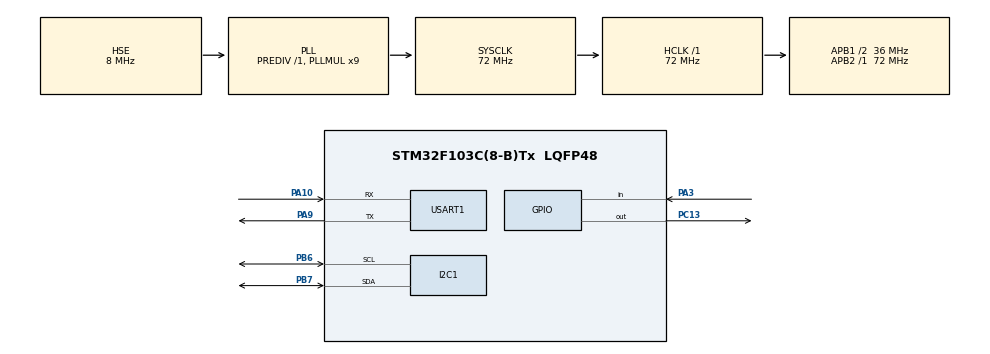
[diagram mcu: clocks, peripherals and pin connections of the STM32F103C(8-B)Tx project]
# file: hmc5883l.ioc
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Mcu.Family=STM32F1
Mcu.Name=STM32F103C(8-B)Tx
Mcu.Package=LQFP48
NVIC.PriorityGroup=NVIC_PRIORITYGROUP_4
PA10.Mode=Asynchronous
PA10.Signal=USART1_RX
PA13.Mode=Serial_Wire
PA13.Signal=SYS_JTMS-SWDIO
PA14.Mode=Serial_Wire
PA14.Signal=SYS_JTCK-SWCLK
PA3.Signal=GPIO_Input
PA9.Mode=Asynchronous
PA9.Signal=USART1_TX
PB6.Mode=I2C
PB6.Signal=I2C1_SCL
PB7.Mode=I2C
PB7.Signal=I2C1_SDA
PC13-TAMPER-RTC.GPIO_PuPd=GPIO_PULLUP
PC13-TAMPER-RTC.Signal=GPIO_Output
PD0-OSC_IN.Mode=HSE-External-Oscillator
PD0-OSC_IN.Signal=RCC_OSC_IN
PD1-OSC_OUT.Mode=HSE-External-Oscillator
PD1-OSC_OUT.Signal=RCC_OSC_OUT
ProjectManager.HeapSize=0x200
ProjectManager.StackSize=0x400
ProjectManager.TargetToolchain=MDK-ARM V5
RCC.AHBFreq_Value=72000000
RCC.APB1CLKDivider=RCC_HCLK_DIV2
RCC.APB1Freq_Value=36000000
RCC.APB1TimFreq_Value=72000000
RCC.APB2Freq_Value=72000000
RCC.APB2TimFreq_Value=72000000
RCC.HCLKFreq_Value=72000000
RCC.PLLMUL=RCC_PLL_MUL9
RCC.PLLSourceVirtual=RCC_PLLSOURCE_HSE
RCC.SYSCLKFreq_VALUE=72000000
RCC.SYSCLKSource=RCC_SYSCLKSOURCE_PLLCLK
RCC.USBFreq_Value=72000000
USART1.VirtualMode=VM_ASYNC
board=custom

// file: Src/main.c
/* USER CODE BEGIN Header */
/**
  ******************************************************************************
  * @file           : main.c
  * @brief          : Main program body
  ******************************************************************************
  * @attention
  *
  * <h2><center>&copy; Copyright (c) 2021 STMicroelectronics.
  * All rights reserved.</center></h2>
  *
  * This software component is licensed by ST under BSD 3-Clause license,
  * the "License"; You may not use this file except in compliance with the
  * License. You may obtain a copy of the License at:
  *                        opensource.org/licenses/BSD-3-Clause
  *
  ******************************************************************************
  */
/* USER CODE END Header */

#include "main.h"
#include<stdio.h>

/* USER CODE BEGIN PD */

#define HMC5883L_ADDER 0x3c
#define CONFIGURATION_A  0x00
#define CONFIGURATION_B  0x01
#define HMC5883L_MODE  0x02
#define X_MSB 0x03
/* USER CODE END PD */

I2C_HandleTypeDef hi2c1;

UART_HandleTypeDef huart1;

void SystemClock_Config(void);
static void MX_GPIO_Init(void);
static void MX_I2C1_Init(void);
static void MX_USART1_UART_Init(void);

/* USER CODE BEGIN 0 */

void hmc5883l_init(){

		uint8_t data = 0x70;

		HAL_I2C_Mem_Write(&hi2c1,HMC5883L_ADDER,CONFIGURATION_A, 1, &data, 1,1000); //配置寄存器A

		data = 0x20;

		HAL_I2C_Mem_Write(&hi2c1,HMC5883L_ADDER,CONFIGURATION_B, 1, &data, 1,1000); //配置寄存器B

		data = 0x0;

		HAL_I2C_Mem_Write(&hi2c1,HMC5883L_ADDER,HMC5883L_MODE, 1, &data, 1,1000); //配置模式寄存器，连续模式

}

void hmc5883l_rawread(float *GaX, float *GaY){

		uint8_t data[6];

	  HAL_I2C_Mem_Read(&hi2c1,HMC5883L_ADDER, 0x03,1,data,6 , 1000); //连续读取

		int16_t dxra,dyra;

		dxra = (data[0] << 8) | data[1];
		*GaX = (float)dxra /1090;

		dyra = (data[4] << 8) | data[5];
		*GaY = (float)dyra /1090 ;

/*	dzra = (data[2] << 8) | data[3];
		float GaZ = (float)dzra /1090 ;
	*/

}

void hmc5883l_selftest(float *Xoffest,float *Yoffest,float *Kx,float *Ky){

		uint8_t i=0 ;

		float GaX,GaY,GaXmax=0,GaXmin=0,GaYmax=0,GaYmin=0;

	printf("start");
		while(i != 100)
	{
		hmc5883l_rawread(&GaX, &GaY);

		GaXmax = GaXmax < GaX? GaX:GaXmax;

		GaXmin = GaXmin > GaX? GaX:GaXmin;

		GaYmax = GaYmax < GaY? GaY:GaYmax;

		GaYmin = GaYmin > GaY? GaY:GaYmin;

		HAL_Delay(200);

		i++;

				printf("...");
	}
		printf("end");
	*Xoffest = (GaXmax+GaXmin)/2;
	*Yoffest = (GaYmax+GaYmin)/2;
	*Kx = 2/(GaXmax-GaXmin);
	*Ky = 2/(GaXmax-GaXmin);

}

int16_t hmc5883l_read(float Xoffest,float Yoffest,float Kx,float Ky){

		float rawGaX,rawGaY;

		int16_t Magangle;

		hmc5883l_rawread(&rawGaX,&rawGaY);

		float GaX = (rawGaX - Xoffest) * Kx;

		float GaY = (rawGaY - Yoffest) * Ky;

			if((GaX > 0)&&(GaY > 0)) Magangle = atan(GaY/GaX)*57;
			else if((GaX > 0)&&(GaY < 0)) Magangle = 360+atan(GaY/GaX)*57;
			else if((GaX == 0)&&(GaY > 0)) Magangle = 90;
			else if((GaX == 0)&&(GaY < 0)) Magangle = 270;
			else if(GaX < 0) Magangle = 180+atan(GaY/GaX)*57;

			return Magangle;

}

/* USER CODE END 0 */

int main(void)
{

  /* MCU Configuration--------------------------------------------------------*/

  /* Reset of all peripherals, Initializes the Flash interface and the Systick. */
  HAL_Init();

  /* Configure the system clock */
  SystemClock_Config();

  /* Initialize all configured peripherals */
  MX_GPIO_Init();
  MX_I2C1_Init();
  MX_USART1_UART_Init();
  /* USER CODE BEGIN 2 */
	HAL_Delay(200);
	hmc5883l_init();
		float Xoffest,Yoffest,Kx,Ky;
	float Magangle;
	hmc5883l_selftest(&Xoffest,&Yoffest,&Kx,&Ky);
  /* USER CODE END 2 */

  /* Infinite loop */
  while (1)
  {

    /* USER CODE BEGIN 3 */
		Magangle = hmc5883l_read(Xoffest,Yoffest,Kx,Ky);
			printf("Magangle = %.3f °",Magangle);
		HAL_GPIO_TogglePin(GPIOC,GPIO_PIN_13);
			HAL_Delay(1000);
    /* USER CODE END WHILE */
  }
  /* USER CODE END 3 */
}

void SystemClock_Config(void)
{
  RCC_OscInitTypeDef RCC_OscInitStruct = {0};
  RCC_ClkInitTypeDef RCC_ClkInitStruct = {0};

  /** Initializes the CPU, AHB and APB busses clocks
  */
  RCC_OscInitStruct.OscillatorType = RCC_OSCILLATORTYPE_HSE;
  RCC_OscInitStruct.HSEState = RCC_HSE_ON;
  RCC_OscInitStruct.HSEPredivValue = RCC_HSE_PREDIV_DIV1;
  RCC_OscInitStruct.HSIState = RCC_HSI_ON;
  RCC_OscInitStruct.PLL.PLLState = RCC_PLL_ON;
  RCC_OscInitStruct.PLL.PLLSource = RCC_PLLSOURCE_HSE;
  RCC_OscInitStruct.PLL.PLLMUL = RCC_PLL_MUL9;
  if (HAL_RCC_OscConfig(&RCC_OscInitStruct) != HAL_OK)
  {
    Error_Handler();
  }
  /** Initializes the CPU, AHB and APB busses clocks
  */
  RCC_ClkInitStruct.ClockType = RCC_CLOCKTYPE_HCLK|RCC_CLOCKTYPE_SYSCLK
                              |RCC_CLOCKTYPE_PCLK1|RCC_CLOCKTYPE_PCLK2;
  RCC_ClkInitStruct.SYSCLKSource = RCC_SYSCLKSOURCE_PLLCLK;
  RCC_ClkInitStruct.AHBCLKDivider = RCC_SYSCLK_DIV1;
  RCC_ClkInitStruct.APB1CLKDivider = RCC_HCLK_DIV2;
  RCC_ClkInitStruct.APB2CLKDivider = RCC_HCLK_DIV1;

  if (HAL_RCC_ClockConfig(&RCC_ClkInitStruct, FLASH_LATENCY_2) != HAL_OK)
  {
    Error_Handler();
  }
}

static void MX_I2C1_Init(void)
{

  hi2c1.Instance = I2C1;
  hi2c1.Init.ClockSpeed = 100000;
  hi2c1.Init.DutyCycle = I2C_DUTYCYCLE_2;
  hi2c1.Init.OwnAddress1 = 0;
  hi2c1.Init.AddressingMode = I2C_ADDRESSINGMODE_7BIT;
  hi2c1.Init.DualAddressMode = I2C_DUALADDRESS_DISABLE;
  hi2c1.Init.OwnAddress2 = 0;
  hi2c1.Init.GeneralCallMode = I2C_GENERALCALL_DISABLE;
  hi2c1.Init.NoStretchMode = I2C_NOSTRETCH_DISABLE;
  if (HAL_I2C_Init(&hi2c1) != HAL_OK)
  {
    Error_Handler();
  }

}

static void MX_USART1_UART_Init(void)
{

  huart1.Instance = USART1;
  huart1.Init.BaudRate = 115200;
  huart1.Init.WordLength = UART_WORDLENGTH_8B;
  huart1.Init.StopBits = UART_STOPBITS_1;
  huart1.Init.Parity = UART_PARITY_NONE;
  huart1.Init.Mode = UART_MODE_TX_RX;
  huart1.Init.HwFlowCtl = UART_HWCONTROL_NONE;
  huart1.Init.OverSampling = UART_OVERSAMPLING_16;
  if (HAL_UART_Init(&huart1) != HAL_OK)
  {
    Error_Handler();
  }

}

static void MX_GPIO_Init(void)
{
  GPIO_InitTypeDef GPIO_InitStruct = {0};

  /* GPIO Ports Clock Enable */
  __HAL_RCC_GPIOC_CLK_ENABLE();
  __HAL_RCC_GPIOD_CLK_ENABLE();
  __HAL_RCC_GPIOA_CLK_ENABLE();
  __HAL_RCC_GPIOB_CLK_ENABLE();

  /*Configure GPIO pin Output Level */
  HAL_GPIO_WritePin(GPIOC, GPIO_PIN_13, GPIO_PIN_RESET);

  /*Configure GPIO pin : PC13 */
  GPIO_InitStruct.Pin = GPIO_PIN_13;
  GPIO_InitStruct.Mode = GPIO_MODE_OUTPUT_PP;
  GPIO_InitStruct.Pull = GPIO_PULLUP;
  GPIO_InitStruct.Speed = GPIO_SPEED_FREQ_LOW;
  HAL_GPIO_Init(GPIOC, &GPIO_InitStruct);

  /*Configure GPIO pin : PA3 */
  GPIO_InitStruct.Pin = GPIO_PIN_3;
  GPIO_InitStruct.Mode = GPIO_MODE_INPUT;
  GPIO_InitStruct.Pull = GPIO_NOPULL;
  HAL_GPIO_Init(GPIOA, &GPIO_InitStruct);

}

/* USER CODE BEGIN 4 */
/*********************************************************
*
*重定义 fputc 函数
*
*********************************************************/
int fputc(int ch,FILE *f)
{
	HAL_UART_Transmit (&huart1 ,(uint8_t *)&ch,1,HAL_MAX_DELAY );
	return ch;
}
/* USER CODE END 4 */

void Error_Handler(void)
{
}

/************************ (C) COPYRIGHT STMicroelectronics *****END OF FILE****/
